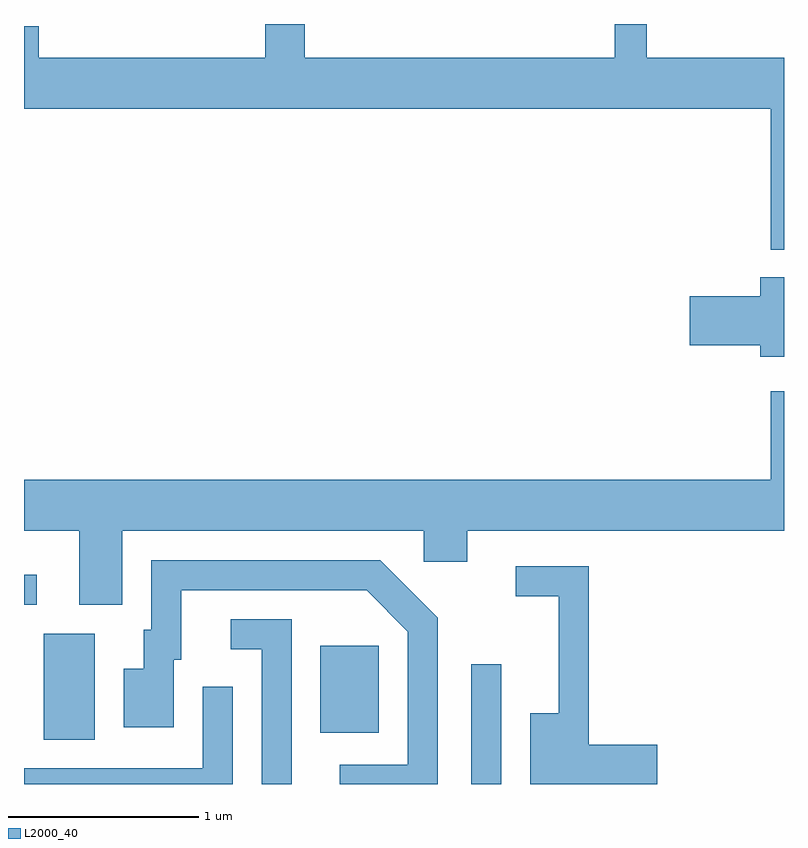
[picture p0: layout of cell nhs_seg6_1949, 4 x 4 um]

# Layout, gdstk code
import gdstk
lib = gdstk.Library(unit=1e-6, precision=1e-09)
def R(c, l, rs):  # rectangles x0, y0, x1, y1
    for r in rs: c.add(gdstk.rectangle(r[:2], r[2:], *l))
def P(c, l, *ps):  # polygons
    for p in ps: c.add(gdstk.Polygon(p, *l))
L2000_40 = (2000, 40)

nhs_seg6_1949 = lib.new_cell('nhs_seg6_1949')
R(nhs_seg6_1949, L2000_40, [(245.966,1644.162,246.124,1644.793), (243.716,1644.396,243.984,1644.954), (245.171,1644.431,245.479,1644.889), (243.611,1645.106,243.678,1645.264)])
P(nhs_seg6_1949, L2000_40, [(247.611,1647.984),(246.889,1647.984),(246.889,1648.162),(246.721,1648.162),(246.721,1647.984),(245.089,1647.984),(245.089,1648.162),(244.881,1648.162),(244.881,1647.984),(243.689,1647.984),(243.689,1648.149),(243.611,1648.149),(243.611,1647.716),(247.541,1647.716),(247.541,1646.973),(247.611,1646.973)],
  [(247.611,1646.829),(247.486,1646.829),(247.486,1646.729),(247.116,1646.729),(247.116,1646.471),(247.486,1646.471),(247.486,1646.411),(247.611,1646.411)],
  [(244.129,1645.496),(245.716,1645.496),(245.716,1645.331),(245.944,1645.331),(245.944,1645.496),(247.611,1645.496),(247.611,1646.228),(247.541,1646.228),(247.541,1645.764),(243.611,1645.764),(243.611,1645.496),(243.901,1645.496),(243.901,1645.106),(244.129,1645.106)],
  [(245.789,1645.037),(245.487,1645.339),(244.281,1645.339),(244.281,1644.974),(244.241,1644.974),(244.241,1644.769),(244.136,1644.769),(244.136,1644.461),(244.399,1644.461),(244.399,1644.816),(244.439,1644.816),(244.439,1645.181),(245.414,1645.181),(245.631,1644.964),(245.631,1644.264),(245.273,1644.264),(245.273,1644.162),(245.789,1644.162)],
  [(246.944,1644.369),(246.584,1644.369),(246.584,1645.309),(246.198,1645.309),(246.198,1645.151),(246.426,1645.151),(246.426,1644.534),(246.276,1644.534),(246.276,1644.162),(246.944,1644.162)],
  [(245.019,1645.029),(244.698,1645.029),(244.698,1644.871),(244.861,1644.871),(244.861,1644.162),(245.019,1644.162)],
  [(244.709,1644.673),(244.551,1644.673),(244.551,1644.244),(243.611,1644.244),(243.611,1644.162),(244.709,1644.162)])

lib.write_gds('nhs_seg6_1949.gds')
